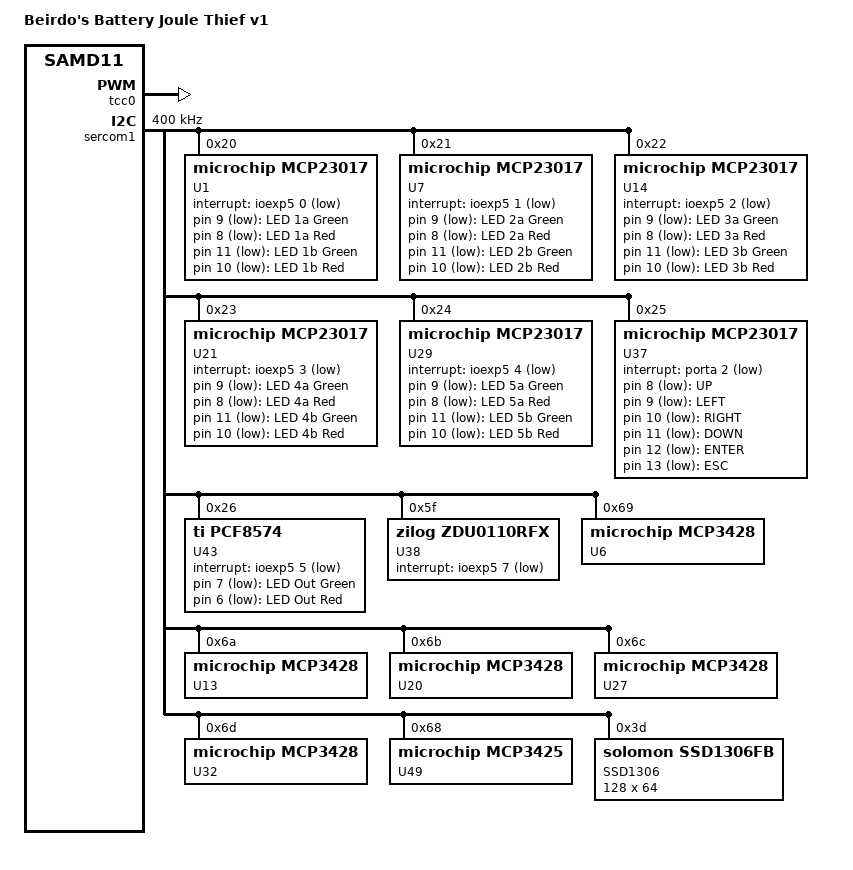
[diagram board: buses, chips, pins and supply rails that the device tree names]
/*
 * Copyright (c) 2020 Gavin Hurlbut
 * SPDX-License-Identifier: Apache-2.0
 */

/dts-v1/;
#include <atmel/samd11.dtsi>

/ {
	model = "Beirdo's Battery Joule Thief v1";
	compatible = "beirdo,battery_joule_thief_v1", "atmel,samd11c14a", "atmel,samd11";

	chosen {
		zephyr,console = &uart0;
		zephyr,shell-uart = &uart0;
		zephyr,sram = &sram0;
		zephyr,flash = &flash0;
	};

	aliases {
		i2c-0 = &sercom1;
		led0 = &led1ag;
	};

	leds {
		compatible = "gpio-leds";
		
		led1ag: led_1ag {
			gpios = <&ioexp0 9 GPIO_ACTIVE_LOW>;
			label = "LED 1a Green";
		};

		led_1ar {
			gpios = <&ioexp0 8 GPIO_ACTIVE_LOW>;
			label = "LED 1a Red";
		};

		led_1bg {
			gpios = <&ioexp0 11 GPIO_ACTIVE_LOW>;
			label = "LED 1b Green";
		};

		led_1br {
			gpios = <&ioexp0 10 GPIO_ACTIVE_LOW>;
			label = "LED 1b Red";
		};

	
		led_2ag {
			gpios = <&ioexp1 9 GPIO_ACTIVE_LOW>;
			label = "LED 2a Green";
		};

		led_2ar {
			gpios = <&ioexp1 8 GPIO_ACTIVE_LOW>;
			label = "LED 2a Red";
		};

		led_2bg {
			gpios = <&ioexp1 11 GPIO_ACTIVE_LOW>;
			label = "LED 2b Green";
		};

		led_2br {
			gpios = <&ioexp1 10 GPIO_ACTIVE_LOW>;
			label = "LED 2b Red";
		};


		led_3ag {
			gpios = <&ioexp2 9 GPIO_ACTIVE_LOW>;
			label = "LED 3a Green";
		};

		led_3ar {
			gpios = <&ioexp2 8 GPIO_ACTIVE_LOW>;
			label = "LED 3a Red";
		};

		led_3bg {
			gpios = <&ioexp2 11 GPIO_ACTIVE_LOW>;
			label = "LED 3b Green";
		};

		led_3br {
			gpios = <&ioexp2 10 GPIO_ACTIVE_LOW>;
			label = "LED 3b Red";
		};

		
		led_4ag {
			gpios = <&ioexp3 9 GPIO_ACTIVE_LOW>;
			label = "LED 4a Green";
		};

		led_4ar {
			gpios = <&ioexp3 8 GPIO_ACTIVE_LOW>;
			label = "LED 4a Red";
		};

		led_4bg {
			gpios = <&ioexp3 11 GPIO_ACTIVE_LOW>;
			label = "LED 4b Green";
		};

		led_4br {
			gpios = <&ioexp3 10 GPIO_ACTIVE_LOW>;
			label = "LED 4b Red";
		};

		
		led_5ag {
			gpios = <&ioexp4 9 GPIO_ACTIVE_LOW>;
			label = "LED 5a Green";
		};

		led_5ar {
			gpios = <&ioexp4 8 GPIO_ACTIVE_LOW>;
			label = "LED 5a Red";
		};

		led_5bg {
			gpios = <&ioexp4 11 GPIO_ACTIVE_LOW>;
			label = "LED 5b Green";
		};

		led_5br {
			gpios = <&ioexp4 10 GPIO_ACTIVE_LOW>;
			label = "LED 5b Red";
		};


		led_og {
			gpios = <&ioexp6 7 GPIO_ACTIVE_LOW>;
			label = "LED Out Green";
		};

		led_or {
			gpios = <&ioexp6 6 GPIO_ACTIVE_LOW>;
			label = "LED Out Red";
		};

	};

	buttons {
		compatible = "gpio-keys";
		
		button_up {
			gpios = <&ioexp5 8 (GPIO_PULL_UP | GPIO_ACTIVE_LOW)>;
			label = "UP";
		};

		button_left {
			gpios = <&ioexp5 9 (GPIO_PULL_UP | GPIO_ACTIVE_LOW)>;
			label = "LEFT";
		};

		button_right {
			gpios = <&ioexp5 10 (GPIO_PULL_UP | GPIO_ACTIVE_LOW)>;
			label = "RIGHT";
		};

		button_down {
			gpios = <&ioexp5 11 (GPIO_PULL_UP | GPIO_ACTIVE_LOW)>;
			label = "DOWN";
		};

		button_enter {
			gpios = <&ioexp5 12 (GPIO_PULL_UP | GPIO_ACTIVE_LOW)>;
			label = "ENTER";
		};

		button_esc {
			gpios = <&ioexp5 13 (GPIO_PULL_UP | GPIO_ACTIVE_LOW)>;
			label = "ESC";
		};

	};
};

&cpu0 {
	clock-frequency = <48000000>;
};

&tcc0 {
	status = "okay";
	compatible = "atmel,sam0-tcc-pwm";
	/* Gives a maximum period of 1.4s */
	prescaler = <4>;
	#pwm-cells = <1>;
};

&sercom1 {
	status = "okay";
	compatible = "atmel,sam0-i2c";
	clock-frequency = <I2C_BITRATE_FAST>;
	#address-cells = <1>;
	#size-cells = <0>;
	
	ioexp0: mcp23017@20 {
		status = "okay";
		compatible = "microchip,mcp23017";
		label = "U1";
		reg = <0x20>;
		gpio-controller;
		#gpio-cells = <2>;
		interrupt-gpios = <&ioexp5 0 GPIO_ACTIVE_LOW>;
		ngpios = <16>;
	};

	ioexp1: mcp23017@21 {
		status = "okay";
		compatible = "microchip,mcp23017";
		label = "U7";
		reg = <0x21>;
		gpio-controller;
		#gpio-cells = <2>;
		interrupt-gpios = <&ioexp5 1 GPIO_ACTIVE_LOW>;
		ngpios = <16>;
	};

	ioexp2: mcp23017@22 {
		status = "okay";
		compatible = "microchip,mcp23017";
		label = "U14";
		reg = <0x22>;
		gpio-controller;
		#gpio-cells = <2>;
		interrupt-gpios = <&ioexp5 2 GPIO_ACTIVE_LOW>;
		ngpios = <16>;
	};

	ioexp3: mcp23017@23 {
		status = "okay";
		compatible = "microchip,mcp23017";
		label = "U21";
		reg = <0x23>;
		gpio-controller;
		#gpio-cells = <2>;
		interrupt-gpios = <&ioexp5 3 GPIO_ACTIVE_LOW>;
		ngpios = <16>;
	};

	ioexp4: mcp23017@24 {
		status = "okay";
		compatible = "microchip,mcp23017";
		label = "U29";
		reg = <0x24>;
		gpio-controller;
		#gpio-cells = <2>;
		interrupt-gpios = <&ioexp5 4 GPIO_ACTIVE_LOW>;
		ngpios = <16>;
	};

	ioexp5: mcp23017@25 {
		status = "okay";
		compatible = "microchip,mcp23017";
		label = "U37";
		reg = <0x25>;
		gpio-controller;
		#gpio-cells = <2>;
		interrupt-gpios = <&porta 2 GPIO_ACTIVE_LOW>;
		ngpios = <16>;
	};

	ioexp6: pcf8574@26 {
		status = "okay";
		compatible = "ti,pcf8574";
		label = "U43";
		reg = <0x26>;
		gpio-controller;
		#gpio-cells = <2>;
		interrupt-gpios = <&ioexp5 5 GPIO_ACTIVE_LOW>;
		ngpios = <8>;
	};

	zdu0110: zdu0110rfx@5f {
		status = "okay";
		compatible = "zilog,zdu0110rfx";
		label = "U38";
		reg = <0x5f>;
		interrupt-gpios = <&ioexp5 7 GPIO_ACTIVE_LOW>;
		#address-cells = <1>;
		#size-cells = <0>;

		uart0: uart@0 {
			status = "okay";
			compatible = "zilog,zdu0110rfx_port";
			label = "U38_UART0";
			port-number = <0>;
			current-speed = < 57600 >;
			reg = <0>;
		};
		
		eeprom@8 {
			status = "okay";
			compatible = "zilog,zdu0110xxx_eeprom";
			label = "U38_EEPROM";
			reg = <8>;
		};
		
		gpio@9 {
			status = "okay";
			compatible = "zilog,zdu0110rfx_gpio";
			label = "U38_GPIO";
			interrupt-gpios = <&ioexp5 6 GPIO_ACTIVE_LOW>;
			gpio-controller;
			#gpio-cells = <2>;
			ngpios = <3>;
			reg = <9>;
		};
	};
	
	adc0: mcp3428@69 {
		status = "okay";
		label = "U6";
		compatible = "microchip,mcp3428";
		#io-channel-cells = <1>;
		reg = <0x69>;
	};
	
	adc1: mcp3428@6a {
		status = "okay";
		label = "U13";
		compatible = "microchip,mcp3428";
		#io-channel-cells = <1>;
		reg = <0x6a>;
	};
	
	adc2: mcp3428@6b {
		status = "okay";
		label = "U20";
		compatible = "microchip,mcp3428";
		#io-channel-cells = <1>;
		reg = <0x6b>;
	};
	
	adc3: mcp3428@6c {
		status = "okay";
		label = "U27";
		compatible = "microchip,mcp3428";
		#io-channel-cells = <1>;
		reg = <0x6c>;
	};
	
	adc4: mcp3428@6d {
		status = "okay";
		label = "U32";
		compatible = "microchip,mcp3428";
		#io-channel-cells = <1>;
		reg = <0x6d>;
	};
	
	adc_out: mcp3425@68 {
		status = "okay";
		label = "U49";
		compatible = "microchip,mcp3425";
		#io-channel-cells = <1>;
		reg = <0x68>;
	};
	
	display: ssd1306@3d {
		status = "okay";
		compatible = "solomon,ssd1306fb";
		reg = <0x3d>;
        label = "SSD1306";
	    width = <128>;
        height = <64>;
        segment-offset = <2>;
        page-offset = <0>;
        display-offset = <0>;
        multiplex-ratio = <63>;
        segment-remap;
        com-invdir;
        prechargep = <0x22>;
	};
	
};

